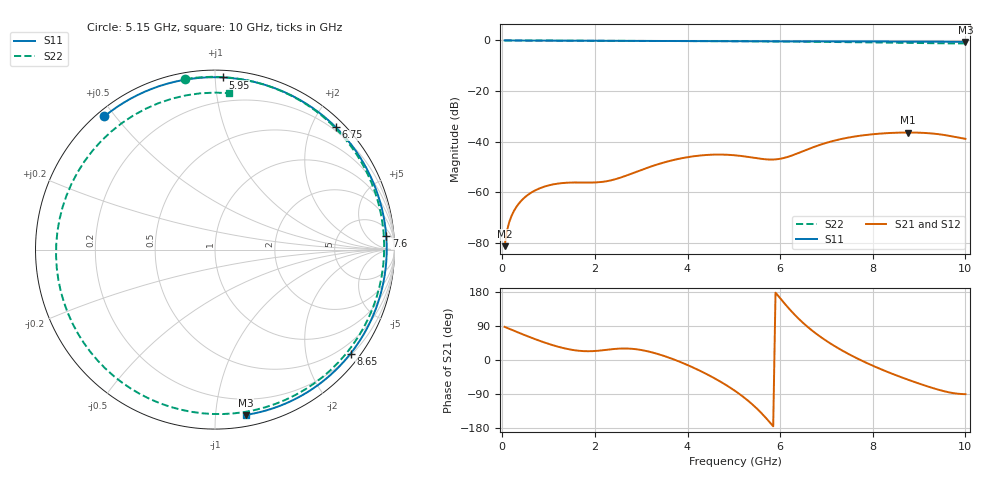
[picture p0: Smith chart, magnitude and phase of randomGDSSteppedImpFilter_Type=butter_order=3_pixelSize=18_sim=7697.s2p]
! freq	dB(S11)	phase(S11)	dB(S12)	phase(S12)
!  dB(S21)	phase(S21)	dB(S22)	phase(S22)
!S-par simulation data
#  GHz  S  DB  R 50
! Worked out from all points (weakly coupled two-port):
!   200 points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, 50 MHz to 10 GHz, reference 50 ohm
!   highest |S21| = -36.34 dB at 8.75 GHz (marker M1); lowest = -81.2 dB at 50 MHz (marker M2)
!   lowest |S11| = -0.6 dB at 10 GHz (marker M3), VSWR 30.58, Z = 3.99 - j59.9 ohm
!   |S11| at or under -10 dB: nowhere
!   |S22| runs from -1.2 to 0.0 dB; largest |S21 - S12| = 0
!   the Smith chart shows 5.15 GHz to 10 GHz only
!   S11 on the Smith chart (normalised r, x): 5.15 GHz: 0.02, +0.47; 5.95 GHz: 0.04, +1.05; 6.75 GHz: 0.14, +2.39; 7.6 GHz: 11, +19; 8.65 GHz: 0.24, -2.93; 10 GHz: 0.08, -1.20
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0.05  -0.00 -2.2  -81.19 87.4  -81.19 87.4  -0.00 -3.0
0.2  -0.01 -8.8  -69.23 79.8  -69.23 79.8  -0.02 -11.8
0.55  -0.03 -24.1  -60.98 62.4  -60.98 62.4  -0.04 -32.2
1.15  -0.06 -50.2  -56.63 36.9  -56.63 36.9  -0.08 -65.7
1.75  -0.10 -75.9  -56.07 23.5  -56.07 23.5  -0.11 -96.9
2.55  -0.14 -110.0  -54.15 30.2  -54.15 30.2  -0.15 -135.1
3.4  -0.19 -146.8  -48.64 14.3  -48.64 14.3  -0.18 -173.6
4.25  -0.25 174.4  -45.45 -27.3  -45.45 -27.3  -0.24 146.9
5.05  -0.31 134.8  -45.37 -83.6  -45.37 -83.6  -0.30 105.5
5.15  -0.31 129.7  -45.57 -92.4  -45.57 -92.4  -0.31 99.9
5.95  -0.35 87.4  -46.85 170.3  -46.85 170.3  -0.41 50.7
6.7  -0.37 47.9  -42.24 76.7  -42.24 76.7  -0.52 -1.8
6.75  -0.37 45.3  -41.90 72.0  -41.90 72.0  -0.53 -5.4
7.15  -0.37 25.5  -39.63 38.6  -39.63 38.6  -0.60 -34.9
7.6  -0.38 4.6  -37.93 8.0  -37.93 8.0  -0.69 -68.4
7.95  -0.39 -10.5  -37.10 -12.3  -37.10 -12.3  -0.77 -94.6
8.35  -0.41 -26.4  -36.54 -33.0  -36.54 -33.0  -0.88 -125.0
8.65  -0.43 -37.5  -36.35 -47.0  -36.35 -47.0  -0.96 -148.6
8.75  -0.43 -41.0  -36.34 -51.5  -36.34 -51.5  -0.98 -156.7
9.35  -0.49 -60.7  -36.84 -76.0  -36.84 -76.0  -1.12 150.7
9.7  -0.53 -71.1  -37.81 -86.6  -37.81 -86.6  -1.16 116.2
10  -0.57 -79.5  -38.83 -90.1  -38.83 -90.1  -1.16 84.8
